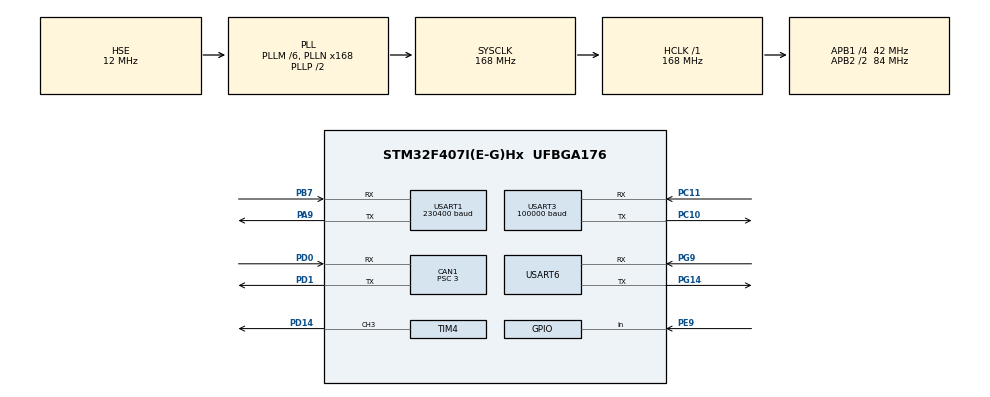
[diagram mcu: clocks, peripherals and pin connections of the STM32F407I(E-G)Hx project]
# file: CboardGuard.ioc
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CAN1.BS1=CAN_BS1_9TQ
CAN1.BS2=CAN_BS2_4TQ
CAN1.CalculateBaudRate=1000000
CAN1.CalculateTimeBit=999.99
CAN1.CalculateTimeQuantum=71.42857142857143
CAN1.NART=ENABLE
CAN1.Prescaler=3
Dma.Request0=USART3_RX
Dma.Request1=USART1_RX
Dma.Request2=USART6_RX
Dma.USART1_RX.1.Direction=DMA_PERIPH_TO_MEMORY
Dma.USART1_RX.1.FIFOMode=DMA_FIFOMODE_ENABLE
Dma.USART1_RX.1.FIFOThreshold=DMA_FIFO_THRESHOLD_FULL
Dma.USART1_RX.1.Instance=DMA2_Stream2
Dma.USART1_RX.1.MemBurst=DMA_MBURST_SINGLE
Dma.USART1_RX.1.MemDataAlignment=DMA_MDATAALIGN_BYTE
Dma.USART1_RX.1.MemInc=DMA_MINC_ENABLE
Dma.USART1_RX.1.Mode=DMA_NORMAL
Dma.USART1_RX.1.PeriphBurst=DMA_PBURST_SINGLE
Dma.USART1_RX.1.PeriphDataAlignment=DMA_PDATAALIGN_BYTE
Dma.USART1_RX.1.PeriphInc=DMA_PINC_DISABLE
Dma.USART1_RX.1.Priority=DMA_PRIORITY_LOW
Dma.USART3_RX.0.Direction=DMA_PERIPH_TO_MEMORY
Dma.USART3_RX.0.FIFOMode=DMA_FIFOMODE_ENABLE
Dma.USART3_RX.0.FIFOThreshold=DMA_FIFO_THRESHOLD_FULL
Dma.USART3_RX.0.Instance=DMA1_Stream1
Dma.USART3_RX.0.MemBurst=DMA_MBURST_SINGLE
Dma.USART3_RX.0.MemDataAlignment=DMA_MDATAALIGN_BYTE
Dma.USART3_RX.0.MemInc=DMA_MINC_ENABLE
Dma.USART3_RX.0.Mode=DMA_NORMAL
Dma.USART3_RX.0.PeriphBurst=DMA_PBURST_SINGLE
Dma.USART3_RX.0.PeriphDataAlignment=DMA_PDATAALIGN_BYTE
Dma.USART3_RX.0.PeriphInc=DMA_PINC_DISABLE
Dma.USART3_RX.0.Priority=DMA_PRIORITY_LOW
Dma.USART6_RX.2.Direction=DMA_PERIPH_TO_MEMORY
Dma.USART6_RX.2.FIFOMode=DMA_FIFOMODE_ENABLE
Dma.USART6_RX.2.FIFOThreshold=DMA_FIFO_THRESHOLD_FULL
Dma.USART6_RX.2.Instance=DMA2_Stream1
Dma.USART6_RX.2.MemBurst=DMA_MBURST_SINGLE
Dma.USART6_RX.2.MemDataAlignment=DMA_MDATAALIGN_BYTE
Dma.USART6_RX.2.MemInc=DMA_MINC_ENABLE
Dma.USART6_RX.2.Mode=DMA_NORMAL
Dma.USART6_RX.2.PeriphBurst=DMA_PBURST_SINGLE
Dma.USART6_RX.2.PeriphDataAlignment=DMA_PDATAALIGN_BYTE
Dma.USART6_RX.2.PeriphInc=DMA_PINC_DISABLE
Dma.USART6_RX.2.Priority=DMA_PRIORITY_LOW
Mcu.Family=STM32F4
Mcu.Name=STM32F407I(E-G)Hx
Mcu.Package=UFBGA176
NVIC.CAN1_RX0_IRQn=true\:0\:2\:true\:false\:true\:true\:true
NVIC.CAN1_TX_IRQn=true\:0\:1\:true\:false\:true\:true\:true
NVIC.DMA1_Stream1_IRQn=true\:0\:0\:false\:false\:true\:false\:true
NVIC.DMA2_Stream1_IRQn=true\:0\:0\:false\:false\:true\:false\:true
NVIC.DMA2_Stream2_IRQn=true\:0\:0\:false\:false\:true\:false\:true
NVIC.PriorityGroup=NVIC_PRIORITYGROUP_2
NVIC.TIM1_UP_TIM10_IRQn=true\:1\:1\:true\:false\:true\:true\:true
NVIC.TIM6_DAC_IRQn=true\:3\:2\:true\:false\:true\:true\:true
NVIC.USART1_IRQn=true\:1\:3\:true\:false\:true\:true\:true
NVIC.USART3_IRQn=true\:1\:2\:true\:false\:true\:true\:true
NVIC.USART6_IRQn=true\:2\:1\:true\:false\:true\:true\:true
PA13.Mode=Serial_Wire
PA13.Signal=SYS_JTMS-SWDIO
PA14.Mode=Serial_Wire
PA14.Signal=SYS_JTCK-SWCLK
PA9.Mode=Asynchronous
PA9.Signal=USART1_TX
PB7.Mode=Asynchronous
PB7.Signal=USART1_RX
PC10.Mode=Asynchronous
PC10.Signal=USART3_TX
PC11.Mode=Asynchronous
PC11.Signal=USART3_RX
PD0.Mode=CAN_Activate
PD0.Signal=CAN1_RX
PD1.Mode=CAN_Activate
PD1.Signal=CAN1_TX
PD14.Signal=S_TIM4_CH3
PE9.Signal=GPIO_Input
PG14.Mode=Asynchronous
PG14.Signal=USART6_TX
PG9.Mode=Asynchronous
PG9.Signal=USART6_RX
PH0-OSC_IN.Mode=HSE-External-Oscillator
PH0-OSC_IN.Signal=RCC_OSC_IN
PH1-OSC_OUT.Mode=HSE-External-Oscillator
PH1-OSC_OUT.Signal=RCC_OSC_OUT
ProjectManager.HeapSize=0x200
ProjectManager.StackSize=0x400
ProjectManager.TargetToolchain=MDK-ARM V5.27
RCC.48MHZClocksFreq_Value=84000000
RCC.AHBFreq_Value=168000000
RCC.APB1CLKDivider=RCC_HCLK_DIV4
RCC.APB1Freq_Value=42000000
RCC.APB1TimFreq_Value=84000000
RCC.APB2CLKDivider=RCC_HCLK_DIV2
RCC.APB2Freq_Value=84000000
RCC.APB2TimFreq_Value=168000000
RCC.CortexFreq_Value=168000000
RCC.HCLKFreq_Value=168000000
RCC.HSE_VALUE=12000000
RCC.HSI_VALUE=16000000
RCC.LSE_VALUE=32768
RCC.PLLM=6
RCC.PLLN=168
RCC.PLLSourceVirtual=RCC_PLLSOURCE_HSE
RCC.SYSCLKFreq_VALUE=168000000
RCC.SYSCLKSource=RCC_SYSCLKSOURCE_PLLCLK
RCC.VCOOutputFreq_Value=336000000
SH.S_TIM4_CH3.0=TIM4_CH3,PWM Generation3 CH3
TIM1.Period=5000-1
TIM1.Prescaler=84-1
TIM4.Channel-PWM\ Generation3\ CH3=TIM_CHANNEL_3
TIM4.Period=20999
TIM6.Period=10-1
TIM6.Prescaler=8400-1
USART1.BaudRate=230400
USART1.Parity=PARITY_EVEN
USART1.VirtualMode=VM_ASYNC
USART1.WordLength=WORDLENGTH_9B
USART3.BaudRate=100000
USART3.VirtualMode=VM_ASYNC
USART6.VirtualMode=VM_ASYNC
VP_TIM1_VS_ClockSourceINT.Mode=Internal
VP_TIM4_VS_ClockSourceINT.Mode=Internal
VP_TIM6_VS_ClockSourceINT.Mode=Enable_Timer
board=custom

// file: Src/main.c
/* USER CODE BEGIN Header */
/**
  ******************************************************************************
  * @file           : main.c
  * @brief          : Main program body
  ******************************************************************************
  * @attention
  *
  * <h2><center>&copy; Copyright (c) 2021 STMicroelectronics.
  * All rights reserved.</center></h2>
  *
  * This software component is licensed by ST under BSD 3-Clause license,
  * the "License"; You may not use this file except in compliance with the
  * License. You may obtain a copy of the License at:
  *                        opensource.org/licenses/BSD-3-Clause
  *
  ******************************************************************************
  */
/* USER CODE END Header */
#include "main.h"
#include "can.h"
#include "dma.h"
#include "tim.h"
#include "usart.h"
#include "gpio.h"

/* USER CODE BEGIN Includes */
#include "Remote_Control.h"
#include "bsp_usart.h"
#include "usartinfo.h"
#include "bsp_can.h"
#include "string.h"
#include "gimbal.h"
#include "shoot.h"
#include "classic.h"
#include "caninfo.h"
#include "gimbal.h"
#include "buzzer.h"
#include "crc.h"
/* USER CODE END Includes */

/* USER CODE BEGIN PTD */
uint8_t Send_Position_Buf[16]={0};  //鍚慛UC鍙戦?佹暟鎹?
uint8_t color=0;  //绾㈣摑鏂?
/* USER CODE END PTD */

void SystemClock_Config(void);

int main(void)
{

  /* MCU Configuration--------------------------------------------------------*/

  /* Reset of all peripherals, Initializes the Flash interface and the Systick. */
  HAL_Init();

  /* Configure the system clock */
  SystemClock_Config();

  /* Initialize all configured peripherals */
  MX_GPIO_Init();
  MX_DMA_Init();
  MX_CAN1_Init();
  MX_TIM1_Init();
  MX_USART1_UART_Init();
  MX_USART3_UART_Init();
  MX_USART6_UART_Init();
  MX_TIM4_Init();
  MX_TIM6_Init();
  /* USER CODE BEGIN 2 */
	CAN_Filter_Init();  //can_Init
	Bsp_UART_Receive_IT(&huart3,UART_Buffer,36);  //遥控器串口初始化
	Bsp_UART_Receive_IT(&huart1, View_Buf, VIEW_BUF_LEN); //视觉串口初始化
	Bsp_UART_Receive_IT(&huart6, Groy_Data_Buf, GROY_DATA_BUF_LEN);	 //陀螺仪串口初始化
	Shoot_Speed_Pid_Init(); //摩擦轮PID初始化
	HAL_TIM_Base_Start_IT(&htim1);	//400Hz主定时器
	Buzzer_Init();  //蜂鸣器初始化
	HAL_TIM_Base_Start_IT(&htim6);	//1kHz
  /* USER CODE END 2 */

  /* Infinite loop */
  while (1)
  {

    /* USER CODE BEGIN 3 */
		if(extern_view_send_state == 1) //视觉串口接收的发送当前角度的指令
		{
			if(Pitch_USE_Gyro==true)
				send_pitch.f = eular[0];
			else
				send_pitch.f = pit_nowangle-Pitch_Motor_Zero; //云台坐标系转视觉坐标系

			if (yaw_nowangle > 180) {
				send_yaw.f = -(360 - yaw_nowangle);
			} else {
				send_yaw.f = yaw_nowangle;  //云台坐标系转视觉坐标系
			}

			Send_Position_Buf[0] = 0x5A;  //帧头
			memcpy(Send_Position_Buf+1,send_pitch.c,4);	//1-4 pitch
			memcpy(Send_Position_Buf+5,send_yaw.c,4);		//5-8 yaw
			Send_Position_Buf[9]=26;	//射速整数位
			Send_Position_Buf[10]=0;	//射速小数位
			Send_Position_Buf[11] = color;  //红蓝方颜色
			Send_Position_Buf[12] = false;  //工作模式 0自瞄 1小符 2大符
			Send_Position_Buf[13] = false;  //保留
			Append_CRC16_Check_Sum(Send_Position_Buf,COUNTOF(Send_Position_Buf)); //追加两字节CRC16
			Uart1_TransmissionT_Data(Send_Position_Buf,COUNTOF(Send_Position_Buf)); //发送
			extern_view_send_state = 0; //清空标志位
		}
  }
  /* USER CODE END 3 */
}

void SystemClock_Config(void)
{
  RCC_OscInitTypeDef RCC_OscInitStruct = {0};
  RCC_ClkInitTypeDef RCC_ClkInitStruct = {0};

  /** Configure the main internal regulator output voltage
  */
  __HAL_RCC_PWR_CLK_ENABLE();
  __HAL_PWR_VOLTAGESCALING_CONFIG(PWR_REGULATOR_VOLTAGE_SCALE1);
  /** Initializes the RCC Oscillators according to the specified parameters
  * in the RCC_OscInitTypeDef structure.
  */
  RCC_OscInitStruct.OscillatorType = RCC_OSCILLATORTYPE_HSE;
  RCC_OscInitStruct.HSEState = RCC_HSE_ON;
  RCC_OscInitStruct.PLL.PLLState = RCC_PLL_ON;
  RCC_OscInitStruct.PLL.PLLSource = RCC_PLLSOURCE_HSE;
  RCC_OscInitStruct.PLL.PLLM = 6;
  RCC_OscInitStruct.PLL.PLLN = 168;
  RCC_OscInitStruct.PLL.PLLP = RCC_PLLP_DIV2;
  RCC_OscInitStruct.PLL.PLLQ = 4;
  if (HAL_RCC_OscConfig(&RCC_OscInitStruct) != HAL_OK)
  {
    Error_Handler();
  }
  /** Initializes the CPU, AHB and APB buses clocks
  */
  RCC_ClkInitStruct.ClockType = RCC_CLOCKTYPE_HCLK|RCC_CLOCKTYPE_SYSCLK
                              |RCC_CLOCKTYPE_PCLK1|RCC_CLOCKTYPE_PCLK2;
  RCC_ClkInitStruct.SYSCLKSource = RCC_SYSCLKSOURCE_PLLCLK;
  RCC_ClkInitStruct.AHBCLKDivider = RCC_SYSCLK_DIV1;
  RCC_ClkInitStruct.APB1CLKDivider = RCC_HCLK_DIV4;
  RCC_ClkInitStruct.APB2CLKDivider = RCC_HCLK_DIV2;

  if (HAL_RCC_ClockConfig(&RCC_ClkInitStruct, FLASH_LATENCY_5) != HAL_OK)
  {
    Error_Handler();
  }
}

void Error_Handler(void)
{
}

/************************ (C) COPYRIGHT STMicroelectronics *****END OF FILE****/
